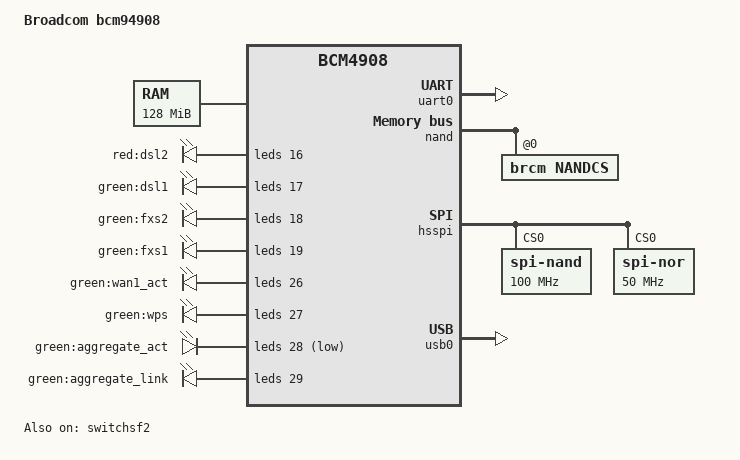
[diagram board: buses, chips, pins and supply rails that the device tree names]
// SPDX-License-Identifier: GPL-2.0+
/*
 * Copyright (C) 2019 Philippe Reynes <philippe.reynes@softathome.com>
 */

/dts-v1/;

#include "bcm4908.dtsi"

/ {
	model = "Broadcom bcm94908";
	compatible = "broadcom,bcm94908", "brcm,bcm4908";

	aliases {
		serial0 = &uart0;
	};

	chosen {
		stdout-path = "serial0:115200n8";
	};

	memory {
		device_type = "memory";
		reg = <0x0 0x0 0x0 0x08000000>;
	};
};

&uart0 {
	u-boot,dm-pre-reloc;
	status = "okay";
};

&nand {
	status = "okay";
	write-protect = <0>;
	#address-cells = <1>;
	#size-cells = <0>;

	nandcs@0 {
		compatible = "brcm,nandcs";
		reg = <0>;
	};
};

&hsspi {
	status = "okay";
	spi-nand {
		compatible = "spi-nand";
		reg = <0>;
		#address-cells = <1>;
		#size-cells = <0>;
		u-boot,dm-pre-reloc;				
		spi-max-frequency = <100000000>;
	};
};

&leds {
	status = "okay";
	#address-cells = <1>;
	#size-cells = <0>;
	brcm,serial-led-en-pol;
	brcm,serial-led-data-ppol;

	led@16 {
		reg = <16>;
		label = "red:dsl2";
	};

	led@17 {
		reg = <17>;
		label = "green:dsl1";
	};

	led@18 {
		reg = <18>;
		label = "green:fxs2";
	};

	led@19 {
		reg = <19>;
		label = "green:fxs1";
	};

	led@26 {
		reg = <26>;
		label = "green:wan1_act";
	};

	led@27 {
		reg = <27>;
		label = "green:wps";
	};

	led@28 {
		reg = <28>;
		active-low;
		label = "green:aggregate_act";
	};

	led@29 {
		reg = <29>;
		label = "green:aggregate_link";
	};
};

&usb0 {
	status = "okay";
	pinctrl-0 = <&usb0a_pwrflt_pins &usb0a_pwron_pins>;
	pinctrl-names="default";
};

&switchsf2 {
	status = "okay";
	phy_base = <0x8>;
	ports {
		port0@0 {
			phy-handle = <&gphy8>;
		};
		port1@1 {
			phy-handle = <&gphy9>;
		};
		port2@2 {
			phy-handle = <&gphya>;
		};
		port3@3 {
			phy-handle = <&gphyb>;
		};
	};
};

&hsspi {
	status = "okay";
	spi-nor@0 {
		compatible = "jedec,spi-nor";
		reg = <0>;
		#address-cells = <1>;
		#size-cells = <0>;
		spi-max-frequency = <50000000>;
		u-boot,dm-pre-reloc;
	};
};

